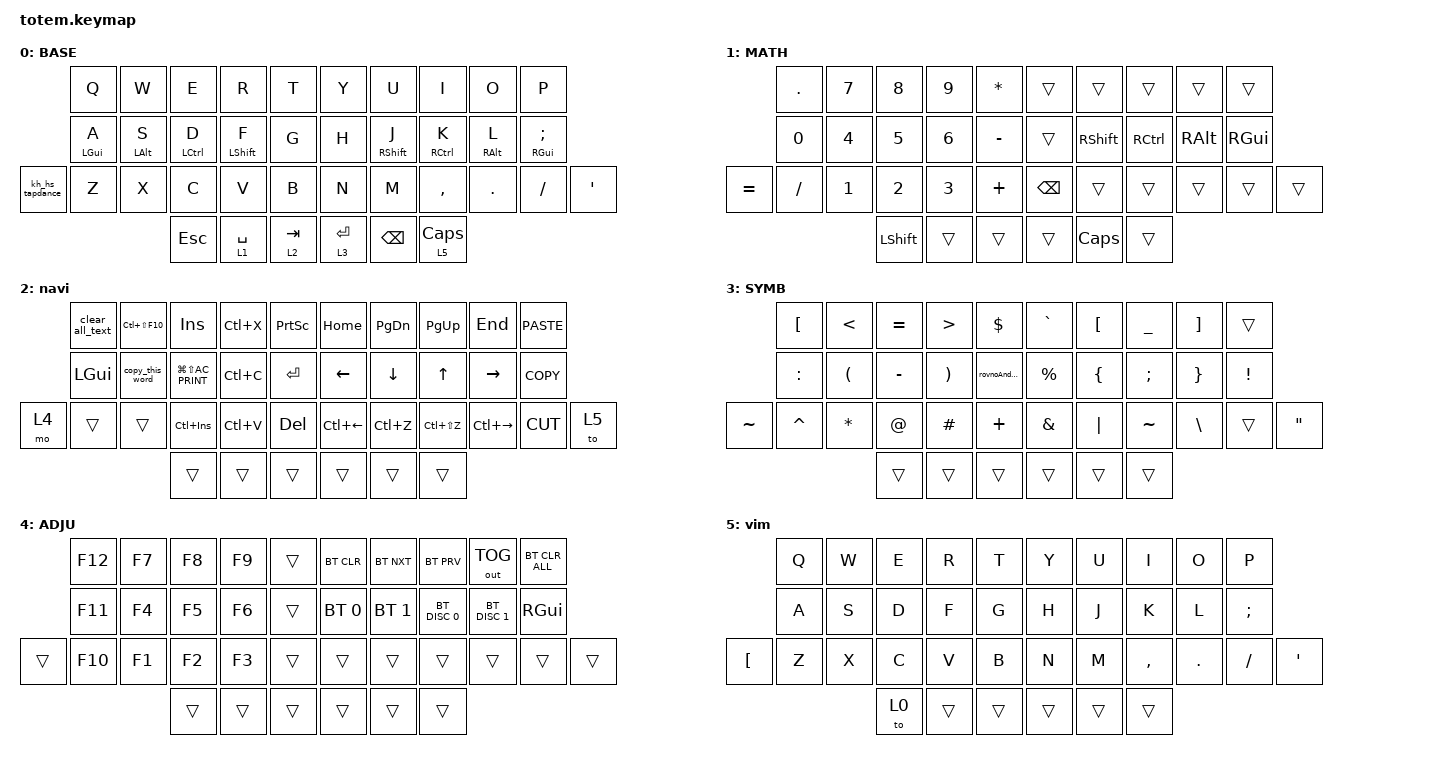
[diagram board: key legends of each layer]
//
//                                                        ▀▀▀▀▀     ▀▀▀▀▀          ▀▀█▀▀
//                                                        ▄▀▀▀▄  ▄  ▄▀▀▀▄  ▄  ▄▀▀▀▄  █  ▄▀▀▀▄
//                                                        █   █  █  █   █  █  █   █  █  █   █
//                                                         ▀▀▀   █   ▀▀▀   █   ▀▀▀   ▀   ▀▀▀
//                                                               █      ▄▄▄█▄▄▄    █   █  
//                                                               ▀      █  █  █     █▄█
//                                                             ▀▀▀▀▀    █  █  █      ▀
//                                                                      ▀  ▀  ▀
//
// ▄▄▄▄▄▄▄▄▄▄▄▄▄▄▄▄▄▄▄▄▄▄▄▄▄▄▄▄▄▄▄▄▄▄▄▄▄▄▄▄▄▄▄▄▄▄▄▄▄▄▄▄▄▄▄▄▄▄▄▄▄▄▄▄▄▄▄▄▄▄▄▄▄▄▄▄▄▄▄▄▄▄▄▄▄▄▄▄▄▄▄▄▄▄▄▄▄▄▄▄▄▄▄▄▄▄▄▄▄▄▄▄▄▄▄▄▄▄▄▄▄▄▄▄▄▄▄▄▄▄▄▄▄▄▄▄▄▄▄▄▄▄▄▄▄▄▄▄▄

#define BASE 0
#define MATH 1
#define SYMB 2
#define ADJU  3

#include <behaviors.dtsi>
#include <dt-bindings/zmk/bt.h>
#include <dt-bindings/zmk/keys.h>
#include <dt-bindings/zmk/outputs.h>

/ {
    combos {
        compatible = "zmk,combos";

        combo_esc {
            timeout-ms = <50>;
            key-positions = <0 1>;
            bindings = <&kp ESCAPE>;
        };

        ruswap {
            bindings = <&kp RIGHT_BRACKET>;
            key-positions = <27 17>;
        };
    };

    behaviors {
        ss_hs_modmorph: ss_hs_modmorph {
            compatible = "zmk,behavior-mod-morph";
            label = "SS_HS_MODMORPH";
            bindings = <&kp M>, <&kp RIGHT_BRACKET>;

            #binding-cells = <0>;
            mods = <(MOD_LSFT|MOD_RSFT)>;
        };

        kh_hs_tapdance: kh_hs_tapdance {
            compatible = "zmk,behavior-tap-dance";
            label = "KH_HS_TAPDANCE";
            #binding-cells = <0>;
            tapping-term-ms = <200>;
            bindings = <&kp LEFT_BRACKET>, <&kp RIGHT_BRACKET>;
        };

        hrm: hrm {
            compatible = "zmk,behavior-hold-tap";
            #binding-cells = <2>;
            flavor = "tap-preferred";
            tapping-term-ms = <200>;
            quick-tap-ms = <200>;
            require-prior-idle-ms = <125>;
            bindings = <&kp>, <&kp>;
        };
    };

    macros {
        rovnoAndDvoetochie: rovnoAndDvoetochie {
            compatible = "zmk,behavior-macro";
            #binding-cells = <0>;
            bindings = <&kp COLON &kp EQUAL>, <&macro_press>;

            label = "ROVNOANDDVOETOCHIE";
        };

        clear_all_text: clear_all_text {
            compatible = "zmk,behavior-macro";
            #binding-cells = <0>;
            bindings = <&kp END &kp LC(A) &kp DELETE>;
            label = "CLEAR_ALL_TEXT";
        };

        copy_this_word: copy_this_word {
            compatible = "zmk,behavior-macro";
            #binding-cells = <0>;
            bindings = <&kp LC(LEFT_ARROW) &kp LC(LS(RIGHT)) &kp LC(C)>;
            label = "COPY_THIS_WORD";
        };
    };

    keymap {
        compatible = "zmk,keymap";

        base {
            label = "BASE";
            bindings = <
                 &kp Q        &kp W        &kp E         &kp R         &kp T        &kp Y        &kp U          &kp I         &kp O        &kp P
                 &hrm LGUI A  &hrm LALT S  &hrm LCTRL D  &hrm LSHFT F  &kp G        &kp H        &hrm RSHFT J   &hrm RCTRL K  &hrm RALT L  &hrm RGUI SEMICOLON
&kh_hs_tapdance  &kp Z        &kp X        &kp C         &kp V         &kp B        &kp N        &kp M          &kp COMMA     &kp DOT      &kp FSLH             &kp SINGLE_QUOTE
                                           &kp ESCAPE    &lt 1 SPACE   &lt 2 TAB    &lt 3 ENTER  &kp BACKSPACE  &lt 5 CAPS
            >;
        };

        math {
            label = "MATH";
            bindings = <
           &kp DOT    &kp N7        &kp N8          &kp N9        &kp ASTERISK    &trans         &trans           &trans     &trans         &trans
           &kp N0     &kp NUMBER_4  &kp N5          &kp N6        &kp MINUS       &trans         &kp RIGHT_SHIFT  &kp RCTRL  &kp RIGHT_ALT  &kp RIGHT_GUI
&kp EQUAL  &kp SLASH  &kp NUMBER_1  &kp NUMBER_2    &kp NUMBER_3  &kp PLUS        &kp BACKSPACE  &trans           &trans     &trans         &trans         &trans
                                    &kp LEFT_SHIFT  &trans        &trans          &trans         &kp CAPSLOCK     &trans
            >;
        };

        navi {
            bindings = <
       &clear_all_text  &kp LC(LS(F10))  &kp INS                 &kp LC(X)  &kp PRINTSCREEN    &kp HOME            &kp PAGE_DOWN  &kp PG_UP      &kp END        &kp K_PASTE
       &kp LGUI         &copy_this_word  &kp LG(LS(C_AC_PRINT))  &kp LC(C)  &kp ENTER          &kp LEFT            &kp DOWN       &kp UP         &kp RIGHT      &kp K_COPY
&mo 4  &trans           &trans           &kp LC(INS)             &kp LC(V)  &kp DELETE         &kp LC(LEFT_ARROW)  &kp LC(Z)      &kp LC(LS(Z))  &kp LC(RIGHT)  &kp K_CUT    &to 5
                                         &trans                  &trans     &trans             &trans              &trans         &trans
            >;
        };

        symb {
            label = "SYMB";
            bindings = <
           &kp LEFT_BRACKET  &kp LESS_THAN         &kp EQUAL    &kp GREATER_THAN       &kp DOLLAR             &kp GRAVE    &kp LEFT_BRACKET  &kp UNDERSCORE  &kp RIGHT_BRACKET  &trans
           &kp COLON         &kp LEFT_PARENTHESIS  &kp MINUS    &kp RIGHT_PARENTHESIS  &rovnoAndDvoetochie    &kp PERCENT  &kp LEFT_BRACE    &kp SEMICOLON   &kp RIGHT_BRACE    &kp EXCLAMATION
&kp TILDE  &kp CARET         &kp ASTRK             &kp AT_SIGN  &kp HASH               &kp PLUS               &kp AMPS     &kp PIPE          &kp TILDE       &kp BACKSLASH      &trans           &kp DOUBLE_QUOTES
                                                   &trans       &trans                 &trans                 &trans       &trans            &trans
            >;
        };

        func {
            label = "ADJU";
            bindings = <
        &kp F12  &kp F7  &kp F8  &kp F9  &trans    &bt BT_CLR    &bt BT_NXT    &bt BT_PRV     &out OUT_TOG   &bt BT_CLR_ALL
        &kp F11  &kp F4  &kp F5  &kp F6  &trans    &bt BT_SEL 0  &bt BT_SEL 1  &bt BT_DISC 0  &bt BT_DISC 1  &kp RGUI
&trans  &kp F10  &kp F1  &kp F2  &kp F3  &trans    &trans        &trans        &trans         &trans         &trans          &trans
                         &trans  &trans  &trans    &trans        &trans        &trans
            >;
        };

        vim {
            bindings = <
          &kp Q  &kp W  &kp E  &kp R   &kp T     &kp Y   &kp U   &kp I      &kp O    &kp P
          &kp A  &kp S  &kp D  &kp F   &kp G     &kp H   &kp J   &kp K      &kp L    &kp SEMI
&kp LBKT  &kp Z  &kp X  &kp C  &kp V   &kp B     &kp N   &kp M   &kp COMMA  &kp DOT  &kp FSLH  &kp SQT
                        &to 0  &trans  &trans    &trans  &trans  &trans
            >;
        };
    };
};
